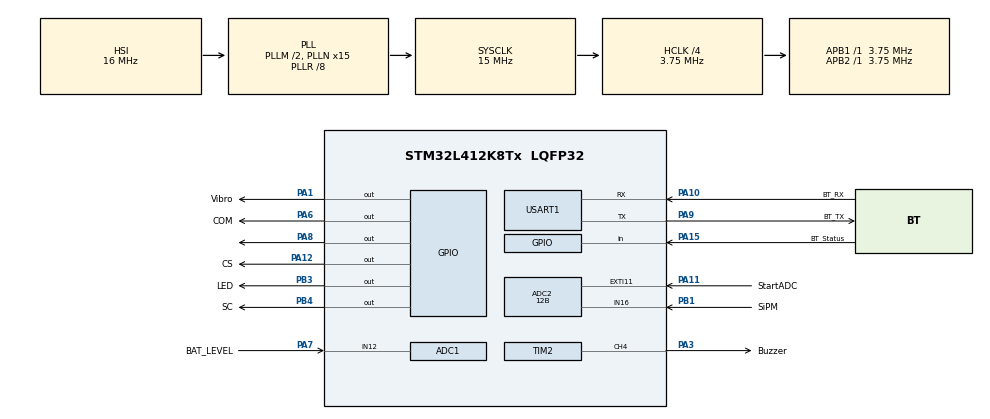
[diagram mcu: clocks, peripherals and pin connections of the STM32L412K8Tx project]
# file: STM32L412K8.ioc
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ADC1.Channel-2\#ChannelRegularConversion=ADC_CHANNEL_12
ADC1.Channel-3\#ChannelRegularConversion=ADC_CHANNEL_TEMPSENSOR
ADC1.LowPowerAutoWait=ENABLE
ADC1.NbrOfConversion=2
ADC1.NbrOfConversionFlag=1
ADC1.Offset-2\#ChannelRegularConversion=1
ADC1.OffsetNumber-2\#ChannelRegularConversion=ADC_OFFSET_NONE
ADC1.OffsetNumber-3\#ChannelRegularConversion=ADC_OFFSET_NONE
ADC1.OversamplingMode=DISABLE
ADC1.Rank-2\#ChannelRegularConversion=1
ADC1.Rank-3\#ChannelRegularConversion=2
ADC1.Resolution=ADC_RESOLUTION_10B
ADC1.SamplingTime-2\#ChannelRegularConversion=ADC_SAMPLETIME_24CYCLES_5
ADC1.SamplingTime-3\#ChannelRegularConversion=ADC_SAMPLETIME_24CYCLES_5
ADC1.master=1
ADC2.Channel-0\#ChannelRegularConversion=ADC_CHANNEL_16
ADC2.ClockPrescaler=ADC_CLOCK_ASYNC_DIV1
ADC2.LowPowerAutoWait=ENABLE
ADC2.NbrOfConversionFlag=1
ADC2.Offset-0\#ChannelRegularConversion=1
ADC2.OffsetNumber-0\#ChannelRegularConversion=ADC_OFFSET_1
ADC2.OversamplingMode=DISABLE
ADC2.Rank-0\#ChannelRegularConversion=1
ADC2.Resolution=ADC_RESOLUTION_12B
ADC2.SamplingTime-0\#ChannelRegularConversion=ADC_SAMPLETIME_12CYCLES_5
Dma.ADC1.1.Direction=DMA_PERIPH_TO_MEMORY
Dma.ADC1.1.Instance=DMA1_Channel1
Dma.ADC1.1.MemDataAlignment=DMA_MDATAALIGN_HALFWORD
Dma.ADC1.1.MemInc=DMA_MINC_ENABLE
Dma.ADC1.1.Mode=DMA_NORMAL
Dma.ADC1.1.PeriphDataAlignment=DMA_PDATAALIGN_HALFWORD
Dma.ADC1.1.PeriphInc=DMA_PINC_DISABLE
Dma.ADC1.1.Priority=DMA_PRIORITY_LOW
Dma.Request0=USART1_RX
Dma.Request1=ADC1
Dma.USART1_RX.0.Direction=DMA_PERIPH_TO_MEMORY
Dma.USART1_RX.0.Instance=DMA1_Channel5
Dma.USART1_RX.0.MemDataAlignment=DMA_MDATAALIGN_BYTE
Dma.USART1_RX.0.MemInc=DMA_MINC_ENABLE
Dma.USART1_RX.0.Mode=DMA_NORMAL
Dma.USART1_RX.0.PeriphDataAlignment=DMA_PDATAALIGN_BYTE
Dma.USART1_RX.0.PeriphInc=DMA_PINC_DISABLE
Dma.USART1_RX.0.Priority=DMA_PRIORITY_LOW
LPTIM2.ClockPrescaler=LPTIM_PRESCALER_DIV1
LPTIM2.UpdateMode=LPTIM_UPDATE_ENDOFPERIOD
Mcu.Family=STM32L4
Mcu.Name=STM32L412K8Tx
Mcu.Package=LQFP32
NVIC.ADC1_2_IRQn=true\:0\:0\:false\:false\:true\:true\:true\:true
NVIC.DMA1_Channel1_IRQn=true\:0\:0\:false\:false\:true\:false\:true\:true
NVIC.DMA1_Channel5_IRQn=true\:0\:0\:false\:false\:true\:false\:true\:true
NVIC.LPTIM2_IRQn=true\:0\:0\:false\:false\:true\:true\:true\:true
NVIC.PriorityGroup=NVIC_PRIORITYGROUP_4
NVIC.TIM1_BRK_TIM15_IRQn=true\:0\:0\:false\:false\:true\:true\:true\:true
NVIC.TIM1_UP_TIM16_IRQn=true\:0\:0\:false\:false\:true\:true\:true\:true
NVIC.TIM6_IRQn=true\:0\:0\:false\:false\:true\:true\:true\:true
PA1.GPIO_Label=Vibro
PA1.Signal=GPIO_Output
PA10.GPIO_Label=BT_RX
PA10.Mode=Asynchronous
PA10.Signal=USART1_RX
PA11.GPIO_Label=StartADC
PA11.Signal=GPXTI11
PA12.GPIO_Label=CS
PA12.Signal=GPIO_Output
PA15\ (JTDI).GPIO_Label=BT_Status
PA15\ (JTDI).Signal=GPIO_Input
PA3.GPIO_Label=Buzzer
PA3.Signal=S_TIM2_CH4
PA6.GPIO_Label=COM
PA6.GPIO_ModeDefaultOutputPP=GPIO_MODE_OUTPUT_OD
PA6.PinState=GPIO_PIN_RESET
PA6.Signal=GPIO_Output
PA7.GPIO_Label=BAT_LEVEL
PA7.Signal=ADCx_IN12
PA8.Signal=GPIO_Output
PA9.GPIO_Label=BT_TX
PA9.Mode=Asynchronous
PA9.Signal=USART1_TX
PB1.GPIO_Label=SiPM
PB1.Signal=ADCx_IN16
PB3\ (JTDO/TRACESWO).GPIO_Label=LED
PB3\ (JTDO/TRACESWO).Signal=GPIO_Output
PB4\ (NJTRST).GPIO_Label=SC
PB4\ (NJTRST).Signal=GPIO_Output
ProjectManager.HeapSize=0x200
ProjectManager.StackSize=0x400
ProjectManager.TargetToolchain=STM32CubeIDE
RCC.ADCFreq_Value=15000000
RCC.AHBCLKDivider=RCC_SYSCLK_DIV4
RCC.AHBFreq_Value=3750000
RCC.APB1Freq_Value=3750000
RCC.APB1TimFreq_Value=3750000
RCC.APB2Freq_Value=3750000
RCC.APB2TimFreq_Value=3750000
RCC.CortexFreq_Value=3750000
RCC.HCLKFreq_Value=3750000
RCC.HSE_VALUE=8000000
RCC.HSI48_VALUE=48000000
RCC.HSI_VALUE=16000000
RCC.LPTIM2CLockSelection=RCC_LPTIM2CLKSOURCE_LSI
RCC.LSE_VALUE=32768
RCC.MSIClockRange=RCC_MSIRANGE_7
RCC.MSI_VALUE=8000000
RCC.PLLM=2
RCC.PLLN=15
RCC.PLLR=RCC_PLLR_DIV8
RCC.PLLSourceVirtual=RCC_PLLSOURCE_HSI
RCC.SYSCLKFreq_VALUE=15000000
RCC.SYSCLKSource=RCC_SYSCLKSOURCE_PLLCLK
RCC.USART1CLockSelection=RCC_USART1CLKSOURCE_SYSCLK
RCC.USBFreq_Value=8000000
RCC.VCOOutputFreq_Value=120000000
SH.ADCx_IN12.0=ADC1_IN12,IN12-Single-Ended
SH.ADCx_IN16.0=ADC2_IN16,IN16-Single-Ended
SH.S_TIM2_CH4.0=TIM2_CH4,Output Compare4 CH4
TIM15.AutoReloadPreload=TIM_AUTORELOAD_PRELOAD_ENABLE
TIM15.ClockDivision=TIM_CLOCKDIVISION_DIV1
TIM15.Period=100
TIM15.Prescaler=0
TIM15.RepetitionCounter=0
TIM15.TIM_MasterOutputTrigger=TIM_TRGO_UPDATE
TIM16.AutoReloadPreload=TIM_AUTORELOAD_PRELOAD_ENABLE
TIM16.Period=30000
TIM16.Prescaler=8
TIM2.AutoReloadPreload=TIM_AUTORELOAD_PRELOAD_ENABLE
TIM2.Channel-Output\ Compare4\ CH4=TIM_CHANNEL_4
TIM2.ClockDivision=TIM_CLOCKDIVISION_DIV1
TIM2.CounterMode=TIM_COUNTERMODE_UP
TIM2.OC4Preload=ENABLE
TIM2.OCMode_4=TIM_OCMODE_TOGGLE
TIM2.OCPolarity_4=TIM_OCPOLARITY_LOW
TIM2.Period=56
TIM2.Prescaler=8
TIM2.TIM_MasterOutputTrigger=TIM_TRGO_UPDATE
TIM2.TIM_MasterSlaveMode=TIM_MASTERSLAVEMODE_DISABLE
TIM6.AutoReloadPreload=TIM_AUTORELOAD_PRELOAD_ENABLE
TIM6.Period=20000
TIM6.Prescaler=2
USART1.DMADisableonRxErrorParam=ADVFEATURE_DMA_DISABLEONRXERROR
USART1.Parity=PARITY_NONE
USART1.StopBits=STOPBITS_1
USART1.SwapParam=ADVFEATURE_SWAP_DISABLE
USART1.VirtualMode-Asynchronous=VM_ASYNC
VP_ADC1_TempSens_Input.Mode=IN-TempSens
VP_LPTIM2_VS_LPTIM_counterModeInternalClock.Mode=Counts__internal_clock_event_00
VP_TIM15_VS_ClockSourceINT.Mode=Internal
VP_TIM15_VS_OPM.Mode=OPM_bit
VP_TIM16_VS_ClockSourceINT.Mode=Enable_Timer
VP_TIM16_VS_OPM.Mode=OPM_bit
VP_TIM2_VS_ClockSourceINT.Mode=Internal
VP_TIM6_VS_ClockSourceINT.Mode=Enable_Timer
board=custom

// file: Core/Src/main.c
/* USER CODE BEGIN Header */
/**
  ******************************************************************************
  * @file           : main.c
  * @brief          : Main program body
  ******************************************************************************
  * @attention
  *
  * <h2><center>&copy; Copyright (c) 2021 STMicroelectronics.
  * All rights reserved.</center></h2>
  *
  * This software component is licensed by ST under BSD 3-Clause license,
  * the "License"; You may not use this file except in compliance with the
  * License. You may obtain a copy of the License at:
  *                        opensource.org/licenses/BSD-3-Clause
  *
  ******************************************************************************
  */
/* USER CODE END Header */
#include "main.h"

/* USER CODE BEGIN Includes */
#ifdef DISPLAY_ENABLE
#include "ssd1306.h"
#include "ssd1306_fonts.h"
#endif
#include <stdio.h>

/* USER CODE END Includes */

ADC_HandleTypeDef hadc1;
ADC_HandleTypeDef hadc2;
DMA_HandleTypeDef hdma_adc1;

LPTIM_HandleTypeDef hlptim2;

TIM_HandleTypeDef htim2;
TIM_HandleTypeDef htim6;
TIM_HandleTypeDef htim15;
TIM_HandleTypeDef htim16;

UART_HandleTypeDef huart1;
DMA_HandleTypeDef hdma_usart1_rx;

/* USER CODE BEGIN PV */
char counterPP[20];
_Bool initFlag = 1, sleepFlag = 1, initUART = 1, logDataFlag = 0;
uint32_t counterCCAlarm = 0, counterCC = 0, counterALL = 0, sleepDelay, alarmTime = 0, oldInterval = 0, avgRadInterval, Thr1 = 0, Thr2 = 0, Thr3 = 0, batteryInterval;
uint16_t adc2Result = 0, adc1Result[2];
uint16_t spectrData[4096 + reservDataSize][2] = {0};
uint16_t spectrCRC, cfgData, cfgLevel1, cfgLevel2, cfgLevel3, powerCoeff, alarmLevel, alarmCount;
uint8_t indexBuffer;
uint32_t radBuffer[radBufferSize] = {0}, oldTimeAll;
uint8_t	resolution = 0, logIndex = 0, logRecords = 0, specterHistory = 0;
uint16_t dacValue, oldAlarmLevel = 4;
HAL_StatusTypeDef	flash_ok;

logData logDat[logSize];
float temperatureKoeff1, temperatureKoeff2;
//float cfgKoefRh;
static union {
	uint32_t uint;
	float flt;
}cfgKoef;

void bebe(void) {
	HAL_TIM_OC_Start(&htim2, TIM_CHANNEL_3); // Start timer for turn off Buzzer
	HAL_TIM_OC_Start(&htim2, TIM_CHANNEL_4); // Start timer for turn off Buzzer
	HAL_Delay(200);
	HAL_TIM_OC_Stop(&htim2, TIM_CHANNEL_3);
	HAL_TIM_OC_Stop(&htim2, TIM_CHANNEL_4);
	HAL_Delay(200);
	HAL_TIM_OC_Start(&htim2, TIM_CHANNEL_3); // Start timer for turn off Buzzer
	HAL_TIM_OC_Start(&htim2, TIM_CHANNEL_4); // Start timer for turn off Buzzer
	HAL_Delay(200);
	HAL_TIM_OC_Stop(&htim2, TIM_CHANNEL_3);
	HAL_TIM_OC_Stop(&htim2, TIM_CHANNEL_4);
}

/*
 * read/write config data from/to flash
 *
 * cfgData:
            00  -- Level 1 sound 1
            01  -- Level 1 vibro 2
            02  -- Level 2 sound 4
            03  -- Level 2 vibro 8
            04  -- Level 3 sound 16
            05  -- Level 3 vibro 32
            06  -- LED 64
            07  -- Sound 128
            08  -- 1 - 1024, 2 - 2048, 3 - 4096
            09  --
            10
            11
            12
            13
            14
            15
            16
 */
void rwFlash(uint8_t rwFlag) {
	uint32_t pageAdr = 0x800F800; // Begin of 31 page, last page flash for STM32L412K8.
	uint16_t magicKey;
	uint64_t dataForSave;
	magicKey = *(__IO uint16_t*) pageAdr;
	if ((magicKey != 0x1234) || (rwFlag == 1)) { // rwFlag == 1 for wrtite data to flash
		magicKey = 0x1234;
		if (rwFlag == 0) { // For first initial
			cfgData = 0;
			cfgLevel1 = 0;
			cfgLevel2 = 0;
			cfgLevel3 = 0;
			powerCoeff = 256;
		}
		FLASH_EraseInitTypeDef EraseInitStruct;
		uint32_t PAGEError = 0;
		EraseInitStruct.TypeErase   = FLASH_TYPEERASE_PAGES;
		EraseInitStruct.Page = 31; // Page size for STM32L412K8 is 2KB
		EraseInitStruct.NbPages     = 1;

		flash_ok = HAL_ERROR;
		// Unlock flash
		while(flash_ok != HAL_OK) {
		  flash_ok = HAL_FLASH_Unlock();
		}
		if (HAL_FLASHEx_Erase(&EraseInitStruct, &PAGEError) == HAL_OK) {

			dataForSave = (uint64_t) (magicKey | (((uint32_t) powerCoeff << 16) & 0xFFFF0000 ) | (((uint64_t) cfgData << 32) & 0xFFFFFFFF00000000) | (((uint64_t) cfgLevel1 << 48) & 0xFFFF000000000000));
			flash_ok = HAL_ERROR;
			while(flash_ok != HAL_OK){
				flash_ok = HAL_FLASH_Program(FLASH_TYPEPROGRAM_DOUBLEWORD, pageAdr, dataForSave); // Write  magic key into Flash
			}

			dataForSave = (uint64_t) (cfgLevel2 | (cfgLevel3 << 16) | (uint64_t) cfgKoef.uint << 32);
			flash_ok = HAL_ERROR;
			while(flash_ok != HAL_OK) {
				flash_ok = HAL_FLASH_Program(FLASH_TYPEPROGRAM_DOUBLEWORD, pageAdr + 8, dataForSave); // Write Level2, Level3
			}
		}
		// Lock flash
		flash_ok = HAL_ERROR;
		while(flash_ok != HAL_OK) {
			flash_ok = HAL_FLASH_Lock();
		}
		bebe();
	} else {
		powerCoeff = *(__IO uint16_t*) (pageAdr + 2);
		cfgData = *(__IO uint16_t*) (pageAdr + 4);
		resolution = (uint8_t) (cfgData >> 8 & 0x3);
		cfgLevel1 = *(__IO uint16_t*) (pageAdr + 6);
		cfgLevel2 = *(__IO uint16_t*) (pageAdr + 8);
		cfgLevel3 = *(__IO uint16_t*) (pageAdr + 10);
		uint32_t koefAddr = pageAdr + 12;
		cfgKoef.uint = *(__IO uint32_t*) (koefAddr);
		if (cfgKoef.flt > 0) {
			float tmpVal = cfgKoef.flt * 1000;
			Thr1 = (uint32_t) (tmpVal / (float)cfgLevel1);
			Thr2 = (uint32_t) (tmpVal / (float)cfgLevel2);
			Thr3 = (uint32_t) (tmpVal / (float)cfgLevel3);
		}
	}
}

/* USER CODE END PV */

void SystemClock_Config(void);
static void MX_GPIO_Init(void);
static void MX_DMA_Init(void);
static void MX_ADC1_Init(void);
static void MX_USART1_UART_Init(void);
static void MX_TIM15_Init(void);
static void MX_ADC2_Init(void);
static void MX_TIM2_Init(void);
static void MX_TIM16_Init(void);
static void MX_TIM6_Init(void);
static void MX_LPTIM2_Init(void);

int main(void)
{

  /* MCU Configuration--------------------------------------------------------*/

  /* Reset of all peripherals, Initializes the Flash interface and the Systick. */
  HAL_Init();

  /* Configure the system clock */
  SystemClock_Config();

  /* Initialize all configured peripherals */
  MX_GPIO_Init();
  MX_DMA_Init();
  MX_ADC1_Init();
  MX_USART1_UART_Init();
  MX_TIM15_Init();
  MX_ADC2_Init();
  MX_TIM2_Init();
  MX_TIM16_Init();
  MX_TIM6_Init();
  MX_LPTIM2_Init();
  /* USER CODE BEGIN 2 */
  HAL_LPTIM_Counter_Stop_IT(&hlptim2);
  //HAL_PWREx_EnableLowPowerRunMode();
  /* USER CODE END 2 */

  /* Infinite loop */
  /* USER CODE BEGIN WHILE */
  int j = 0;
  uint8_t btCommand[sizeCommand];
  uint8_t prefix[3] = {'<', 'B', '>'};
  uint8_t lowSpectr, highSpectr;
  #ifdef DISPLAY_ENABLE
  ssd1306_Init();
  #endif
  //uint16_t tmpData;
  /*
   * Температура с учетом калибровки
   * (TS_CAL2_TEMP - TS_CAL1_TEMP) / (TS_CAL2 - TS_CAL1) * (TS_DATA - TS_CAL1) + 30
   *
   * */
  temperatureKoeff1 = (float) (TEMPSENSOR_CAL2_TEMP - TEMPSENSOR_CAL1_TEMP) / (float) (*TEMPSENSOR_CAL2_ADDR - *TEMPSENSOR_CAL1_ADDR);
  temperatureKoeff2 = 30 - temperatureKoeff1 * (float) ( *(__IO uint16_t*) TEMPSENSOR_CAL1_ADDR);
  temperatureKoeff1 = temperatureKoeff1 * 4 * ADC_REF_VOLTAGE / 3.0f;	// ADC 10 разрядов, default Vref = 3v.

  uint32_t initDelay, oldTime = HAL_GetTick();
  initDelay = oldTime;
  oldTimeAll = oldTime;
  sleepFlag = oldTime;
  batteryInterval = 0;
  counterCC = 0;

  rwFlash(0); // Read config from flash.

  if (powerCoeff == 0 || powerCoeff > 4095) {
	  powerCoeff = 60;
  }
  HAL_GPIO_WritePin(GPIOB, LED_PIN, GPIO_PIN_SET); // LED on.
  HAL_GPIO_WritePin(GPIOA, COM_PIN, GPIO_PIN_SET); // Com pin disable
  __HAL_TIM_CLEAR_FLAG(&htim15, TIM_SR_UIF); // Clear flags
  HAL_TIM_Base_Start_IT(&htim15); // Start timer for turn off LED
  //
  HAL_TIM_OC_Start(&htim2, TIM_CHANNEL_3);  // Sound on
  HAL_TIM_OC_Start(&htim2, TIM_CHANNEL_4);  // Sound on
  HAL_GPIO_WritePin(GPIOA, VIBRO_PIN, GPIO_PIN_SET); // Vibro on.
  __HAL_TIM_CLEAR_FLAG(&htim16, TIM_SR_UIF); // Clear flags
  HAL_TIM_Base_Start_IT(&htim16); // Start timer for turn off Buzzer

  alarmLevel = 0;
  alarmCount = 0;
  HAL_TIM_Base_Start_IT(&htim6); // Alarm timer.
  //HAL_UART_Init(&huart1);

  while (1)
  {
	#ifdef DISPLAY_ENABLE
	  sprintf(counterPP, "CPS:%lu CNT:%lu", counterCC / ((HAL_GetTick() - oldTime) / 1000), counterALL);
	  counterCC = 0;
	  oldTime = HAL_GetTick();
	  ssd1306_SetCursor(0, 0);
	  ssd1306_WriteString(counterPP, Font_6x8, 0x01);
	#endif
	  uint32_t max = 1;
	  for ( int i = reservDataSize; i < 2050; i++) {
		  if (spectrData[i][0] > max)
			  max = spectrData[i][0];
	  }
	#ifdef DISPLAY_ENABLE
	  sprintf(counterPP, "AVG:%lu MAX:%d", counterALL / ((HAL_GetTick() - oldTimeAll) / 1000), max);
	  ssd1306_SetCursor(0, 8);
	  ssd1306_WriteString(counterPP, Font_6x8, 0x01);

	  sprintf(counterPP, "TM:%lu",(HAL_GetTick() - oldTimeAll) / 1000);
	  ssd1306_SetCursor(0, 16);
	  ssd1306_WriteString(counterPP, Font_6x8, 0x01);
	#endif
	/*
	  //
	  // Histogram for LCD 64x128.
	  //
	  int k = 0;
	  for ( int i = 0; i < 119; i++) {
		  sptDat =(float) ((spectrData[k++] + spectrData[k++] + spectrData[k++]) * 64 / max);
		  //sptDat = (float) (log2f((float) spectrData[i]) * 64 / max);
		  ssd1306_Line(0, i + 9, 64, i + 9, 0x00);
		  ssd1306_Line(0, i + 9, sptDat, i + 9, 0x01);
	  }
	  */
	#ifdef DISPLAY_ENABLE
	  ssd1306_UpdateScreen();
	#endif
	  // Delay after on.
	  if (initFlag && (HAL_GetTick() - initDelay > INIT_TIME)) {
		  initFlag = 0;
		  HAL_ADC_Start_IT(&hadc2);  // Init ADC for sipm channel.
		  oldTimeAll = HAL_GetTick();
		  HAL_LPTIM_Counter_Start_IT(&hlptim2, 32000);
	  }
	#ifdef DISPLAY_ENABLE
	  ssd1306_SetCursor(0, 24);
	#endif
	  /* Status JDY-19, BT connected ? */
	  if ( HAL_GPIO_ReadPin(GPIOA, GPIO_PIN_15) == 1 ) { // BT State active ?
	#ifdef DISPLAY_ENABLE
		  ssd1306_WriteString("BT: connect   ", Font_6x8, 0x01);
	#endif
		  /* Init uart after sleep */
		  if (initUART) {
			  HAL_UART_Init(&huart1);
			  HAL_UART_Receive_DMA(&huart1, btCommand, sizeCommand);
			  initUART = 0;
		  }

		  /* Receive data from android */
		  if (hdma_usart1_rx.State == HAL_DMA_STATE_READY) {
			  HAL_UART_Receive_DMA(&huart1, btCommand, sizeCommand);
			  if (btCommand[0] == '<' && btCommand[2] == '>') {
				  uint16_t CS = 0;
				  for (int i = 0; i < 18; i++) {
					  CS = CS + btCommand[i];
				  }
				  if (((CS & 0xFF) == btCommand[18]) && (((CS >> 8) & 0xFF) == btCommand[19])) {
					  //HAL_TIM_OC_Start(&htim2, TIM_CHANNEL_4);
					  //HAL_TIM_Base_Start_IT(&htim16); // Start timer for turn off Buzzer
					  if (btCommand[1] == '1')  { // Clear statistics
						  for (int i = 0; i < 2050; i++) {
							  spectrData[i][specterHistory] = 0;
							  batteryInterval = 0;
							  if (specterHistory == 1) {
								  counterCCAlarm = 0;
								  alarmTime = 0;
							  }
						  }
						  oldTimeAll = HAL_GetTick();
						  counterALL = 0;
					  } else if (btCommand[1] == '2') { // Write config data
						  cfgData = ((btCommand[4] << 8) & 0xFF00) | btCommand[3];
						  resolution = (uint8_t) (cfgData >> 8 & 0x3);
						  cfgLevel1 = ((btCommand[6] << 8) & 0xFF00) | btCommand[5];
						  cfgLevel2 = ((btCommand[8] << 8) & 0xFF00) | btCommand[7];
						  cfgLevel3 = ((btCommand[10] << 8) & 0xFF00) | btCommand[9];
						  //cfgKoefRh = *(float *) &btCommand[11];
						  cfgKoef.uint = (uint32_t) (btCommand[11] | (uint32_t) btCommand[12] << 8 | (uint32_t) btCommand[13] << 16 | (uint32_t) btCommand[14] << 24);
						  powerCoeff = (uint16_t) (btCommand[15] | (uint16_t) btCommand[16] << 8);
						  if (cfgKoef.flt > 0) {
							  //float tmpVal = cfgKoefRh * 1000;
							  float tmpVal = cfgKoef.flt * 1000;
							  Thr1 = (uint32_t) (tmpVal / (float)cfgLevel1);
							  Thr2 = (uint32_t) (tmpVal / (float)cfgLevel2);
							  Thr3 = (uint32_t) (tmpVal / (float)cfgLevel3);
						  }
						  rwFlash(1); // Write to flash
					  } else if (btCommand[1] == '3') {  // Request log data.
						  logDataFlag = 1;
					  } else if (btCommand[1] == '4') {  // Toggle to alarm specter array
						  specterHistory = 1;
					  } else if (btCommand[1] == '5') {  // Toggle to normal specter array
						  specterHistory = 0;
					  }
				  }
			  }
		  }

		  /*
		   *  Transmit data over BT.
		   */
		  if (logDataFlag == 0) {  // Specter data
			  if (specterHistory == 0) {
				  prefix[1] = 'B';		// Normal specter
				  spectrData[0][specterHistory] = (uint16_t) ((HAL_GetTick() - oldTimeAll) / 1000); // Specter collection time.
				  spectrData[1][specterHistory] = (uint16_t) (((HAL_GetTick() - oldTimeAll) / 1000) >> 16);
				  spectrData[2][specterHistory] = (uint16_t) (counterALL & 0xFFFF);
				  spectrData[3][specterHistory] = (uint16_t) (counterALL >> 16);
			  } else {
				  prefix[1] = 'b';		// Alarm specter
				  spectrData[0][specterHistory] = (uint16_t) (alarmTime & 0xFFFF); // Specter collection time.
				  spectrData[1][specterHistory] = (uint16_t) (alarmTime >> 16);
				  spectrData[2][specterHistory] = (uint16_t) (counterCCAlarm & 0xFFFF);
				  spectrData[3][specterHistory] = (uint16_t) (counterCCAlarm >> 16);
			  }
			  HAL_UART_Transmit(&huart1, prefix, 3, 1000); // Start sequence.
			  //spectrData[2] = 0;
			  //spectrData[3] = 1;
			  spectrCRC = 0;
			  HAL_Delay(TRANSMIT_DALAY);  // Increase time delay if transmit error.
			  j = 0;
			  for ( int i = 0; i < 1042; i++) {
				  lowSpectr = spectrData[i][specterHistory] & 0xFF;
				  highSpectr = (spectrData[i][specterHistory] & 0xFF00) >> 8;
				  spectrCRC = spectrCRC + lowSpectr + highSpectr;
				  HAL_UART_Transmit(&huart1, &highSpectr, 1, 1000);
				  HAL_UART_Transmit(&huart1, &lowSpectr, 1, 1000);
				  if ( j++ >= 9) {
					  HAL_Delay(TRANSMIT_DALAY);  // Increase time delay if transmit error.
					  j = 0;
				  }
			  }
		  } else {  // Log data
			  uint32_t logTime = HAL_GetTick() / 1000;
			  uint8_t emptyBuff[5] = {0};
			  logDataFlag = 0;	// Reset log data flag
			  prefix[1] = 'L';
			  HAL_UART_Transmit(&huart1, prefix, 3, 1000); // Start sequence.
			  HAL_UART_Transmit(&huart1, &logRecords, 1, 1000); // Records count
			  spectrCRC = logRecords;
			  /* Send current time */
			  lowSpectr = logTime & 0xFF;
			  highSpectr = (logTime & 0xFF00) >> 8;
			  spectrCRC = spectrCRC + lowSpectr + highSpectr;
			  HAL_UART_Transmit(&huart1, &highSpectr, 1, 1000);
			  HAL_UART_Transmit(&huart1, &lowSpectr, 1, 1000);
			  lowSpectr = (logTime & 0xFF0000) >> 16;
			  highSpectr = (logTime & 0xFF000000) >> 24;
			  spectrCRC = spectrCRC + lowSpectr + highSpectr;
			  HAL_UART_Transmit(&huart1, &highSpectr, 1, 1000);
			  HAL_UART_Transmit(&huart1, &lowSpectr, 1, 1000);
			  HAL_UART_Transmit(&huart1, emptyBuff, 5, 1000);
			  HAL_Delay(TRANSMIT_DALAY);  // Increase time delay if transmit error.
			  j = 0;
			  for (int i = 0; i < logRecords; i++) {
				  lowSpectr = logDat[i].timeData & 0xFF;
				  highSpectr = (logDat[i].timeData & 0xFF00) >> 8;
				  spectrCRC = spectrCRC + lowSpectr + highSpectr;
				  HAL_UART_Transmit(&huart1, &highSpectr, 1, 1000);
				  HAL_UART_Transmit(&huart1, &lowSpectr, 1, 1000);
				  lowSpectr = (logDat[i].timeData & 0xFF0000) >> 16;
				  highSpectr = (logDat[i].timeData & 0xFF000000) >> 24;
				  spectrCRC = spectrCRC + lowSpectr + highSpectr;
				  HAL_UART_Transmit(&huart1, &highSpectr, 1, 1000);
				  HAL_UART_Transmit(&huart1, &lowSpectr, 1, 1000);
				  spectrCRC = spectrCRC + logDat[i].eventType;
				  HAL_UART_Transmit(&huart1, &logDat[i].eventType, 1, 1000);
				  lowSpectr = logDat[i].event_data & 0xFF;
				  highSpectr = (logDat[i].event_data & 0xFF00) >> 8;
				  spectrCRC = spectrCRC + lowSpectr + highSpectr;
				  HAL_UART_Transmit(&huart1, &highSpectr, 1, 1000);
				  HAL_UART_Transmit(&huart1, &lowSpectr, 1, 1000);
				  lowSpectr = (logDat[i].event_data & 0xFF0000) >> 16;
				  highSpectr = (logDat[i].event_data & 0xFF000000) >> 24;
				  spectrCRC = spectrCRC + lowSpectr + highSpectr;
				  HAL_UART_Transmit(&huart1, &highSpectr, 1, 1000);
				  HAL_UART_Transmit(&huart1, &lowSpectr, 1, 1000);
				  HAL_Delay(TRANSMIT_DALAY);  // Increase time delay if transmit error.
			  }
		  }
		  /* Transmit CRC */
		  HAL_Delay(TRANSMIT_DALAY);
		  lowSpectr = spectrCRC & 0xFF;
		  highSpectr = (spectrCRC & 0xFF00) >> 8;
		  HAL_UART_Transmit(&huart1, &highSpectr, 1, 1000);
		  HAL_UART_Transmit(&huart1, &lowSpectr, 1, 1000);
		  sleepDelay = HAL_GetTick();
		  sleepFlag = 1;
	  } else {
	#ifdef DISPLAY_ENABLE
		  HAL_Delay(500);
		  ssd1306_WriteString("BT: disconnect", Font_6x8, 0x01);
	#endif
		  // BT sleep control
		  if (sleepFlag && (HAL_GetTick() - sleepDelay > SLEEPDALAY)) {
			  sleepFlag = 0;
			  HAL_UART_Transmit(&huart1, (uint8_t*) "AT+SLEEP\n", 9, 1000);    //For JDY-10
			  HAL_Delay(200);
			  HAL_UART_Transmit(&huart1, (uint8_t*) "AT+SLEEP\r\n", 10, 1000); //For JDY-19
			  HAL_GPIO_WritePin(GPIOB, LED_PIN, GPIO_PIN_SET); // LED on.
			  HAL_TIM_Base_Start_IT(&htim15); // Start timer for turn off LED.
			  HAL_UART_DeInit(&huart1);
			  initUART = 1;
		  }
	  }
	  /*
	   * Measure battery voltage and temperature
	   */
	  if ((HAL_GetTick() - batteryInterval > batteryMeasureInterval) || batteryInterval == 0) {
		  HAL_GPIO_WritePin(GPIOA, COM_PIN, GPIO_PIN_RESET); // Enable common pin
		  HAL_ADC_Start_DMA(&hadc1, (uint32_t *) &adc1Result, 2);
		  batteryInterval = HAL_GetTick();

		  /*
		   * DAC LTC1662 control
		   * Less value, more voltage.
		   */
		  if (dacValue != powerCoeff) {
			  dacValue = powerCoeff;  // Constant for test
			  uint16_t transmitData = 0xA000 | dacValue;
			  HAL_GPIO_WritePin(GPIOA, CS_DAC, GPIO_PIN_SET);		// Disable CS pin
			  HAL_GPIO_WritePin(GPIOB, SCK_DAC, GPIO_PIN_SET);		// Pulse on SCK pin
			  HAL_GPIO_WritePin(GPIOB, SCK_DAC, GPIO_PIN_RESET);
			  HAL_GPIO_WritePin(GPIOA, CS_DAC, GPIO_PIN_RESET);		// Enable CS pin
			  for (int i = 0; i < 16; i++) {
				  if ((transmitData & (1 << (15 - i))) == 0) {
					  HAL_GPIO_WritePin(GPIOA, SDI_DAC, GPIO_PIN_RESET);
				  } else {
					  HAL_GPIO_WritePin(GPIOA, SDI_DAC, GPIO_PIN_SET);
				  }
				  HAL_GPIO_WritePin(GPIOB, SCK_DAC, GPIO_PIN_SET);		// Pulse on SCK pin
				  HAL_GPIO_WritePin(GPIOB, SCK_DAC, GPIO_PIN_RESET);
			  }
			  HAL_GPIO_WritePin(GPIOA, CS_DAC, GPIO_PIN_SET);		// Disable CS pin and execute command
		  }
	  }
	  HAL_Delay(500);
    /* USER CODE END WHILE */

  }
}

void SystemClock_Config(void)
{
  RCC_OscInitTypeDef RCC_OscInitStruct = {0};
  RCC_ClkInitTypeDef RCC_ClkInitStruct = {0};

  /** Configure the main internal regulator output voltage
  */
  if (HAL_PWREx_ControlVoltageScaling(PWR_REGULATOR_VOLTAGE_SCALE1) != HAL_OK)
  {
    Error_Handler();
  }

  /** Initializes the RCC Oscillators according to the specified parameters
  * in the RCC_OscInitTypeDef structure.
  */
  RCC_OscInitStruct.OscillatorType = RCC_OSCILLATORTYPE_HSI|RCC_OSCILLATORTYPE_LSI;
  RCC_OscInitStruct.HSIState = RCC_HSI_ON;
  RCC_OscInitStruct.HSICalibrationValue = RCC_HSICALIBRATION_DEFAULT;
  RCC_OscInitStruct.LSIState = RCC_LSI_ON;
  RCC_OscInitStruct.PLL.PLLState = RCC_PLL_ON;
  RCC_OscInitStruct.PLL.PLLSource = RCC_PLLSOURCE_HSI;
  RCC_OscInitStruct.PLL.PLLM = 2;
  RCC_OscInitStruct.PLL.PLLN = 15;
  RCC_OscInitStruct.PLL.PLLQ = RCC_PLLQ_DIV2;
  RCC_OscInitStruct.PLL.PLLR = RCC_PLLR_DIV8;
  if (HAL_RCC_OscConfig(&RCC_OscInitStruct) != HAL_OK)
  {
    Error_Handler();
  }

  /** Initializes the CPU, AHB and APB buses clocks
  */
  RCC_ClkInitStruct.ClockType = RCC_CLOCKTYPE_HCLK|RCC_CLOCKTYPE_SYSCLK
                              |RCC_CLOCKTYPE_PCLK1|RCC_CLOCKTYPE_PCLK2;
  RCC_ClkInitStruct.SYSCLKSource = RCC_SYSCLKSOURCE_PLLCLK;
  RCC_ClkInitStruct.AHBCLKDivider = RCC_SYSCLK_DIV4;
  RCC_ClkInitStruct.APB1CLKDivider = RCC_HCLK_DIV1;
  RCC_ClkInitStruct.APB2CLKDivider = RCC_HCLK_DIV1;

  if (HAL_RCC_ClockConfig(&RCC_ClkInitStruct, FLASH_LATENCY_0) != HAL_OK)
  {
    Error_Handler();
  }
}

static void MX_ADC1_Init(void)
{

  ADC_MultiModeTypeDef multimode = {0};
  ADC_ChannelConfTypeDef sConfig = {0};

  /** Common config
  */
  hadc1.Instance = ADC1;
  hadc1.Init.ClockPrescaler = ADC_CLOCK_ASYNC_DIV1;
  hadc1.Init.Resolution = ADC_RESOLUTION_10B;
  hadc1.Init.DataAlign = ADC_DATAALIGN_RIGHT;
  hadc1.Init.ScanConvMode = ADC_SCAN_ENABLE;
  hadc1.Init.EOCSelection = ADC_EOC_SINGLE_CONV;
  hadc1.Init.LowPowerAutoWait = ENABLE;
  hadc1.Init.ContinuousConvMode = DISABLE;
  hadc1.Init.NbrOfConversion = 2;
  hadc1.Init.DiscontinuousConvMode = DISABLE;
  hadc1.Init.ExternalTrigConv = ADC_SOFTWARE_START;
  hadc1.Init.ExternalTrigConvEdge = ADC_EXTERNALTRIGCONVEDGE_NONE;
  hadc1.Init.DMAContinuousRequests = DISABLE;
  hadc1.Init.Overrun = ADC_OVR_DATA_PRESERVED;
  hadc1.Init.OversamplingMode = DISABLE;
  if (HAL_ADC_Init(&hadc1) != HAL_OK)
  {
    Error_Handler();
  }

  /** Configure the ADC multi-mode
  */
  multimode.Mode = ADC_MODE_INDEPENDENT;
  if (HAL_ADCEx_MultiModeConfigChannel(&hadc1, &multimode) != HAL_OK)
  {
    Error_Handler();
  }

  /** Configure Regular Channel
  */
  sConfig.Channel = ADC_CHANNEL_12;
  sConfig.Rank = ADC_REGULAR_RANK_1;
  sConfig.SamplingTime = ADC_SAMPLETIME_24CYCLES_5;
  sConfig.SingleDiff = ADC_SINGLE_ENDED;
  sConfig.OffsetNumber = ADC_OFFSET_NONE;
  sConfig.Offset = 1;
  if (HAL_ADC_ConfigChannel(&hadc1, &sConfig) != HAL_OK)
  {
    Error_Handler();
  }

  /** Configure Regular Channel
  */
  sConfig.Channel = ADC_CHANNEL_TEMPSENSOR;
  sConfig.Rank = ADC_REGULAR_RANK_2;
  sConfig.Offset = 0;
  if (HAL_ADC_ConfigChannel(&hadc1, &sConfig) != HAL_OK)
  {
    Error_Handler();
  }
  /* USER CODE BEGIN ADC1_Init 2 */
  while (HAL_ADCEx_Calibration_Start(&hadc1, ADC_SINGLE_ENDED) != HAL_OK);

  /* USER CODE END ADC1_Init 2 */

}

static void MX_ADC2_Init(void)
{

  ADC_ChannelConfTypeDef sConfig = {0};

  /** Common config
  */
  hadc2.Instance = ADC2;
  hadc2.Init.ClockPrescaler = ADC_CLOCK_ASYNC_DIV1;
  hadc2.Init.Resolution = ADC_RESOLUTION_12B;
  hadc2.Init.DataAlign = ADC_DATAALIGN_RIGHT;
  hadc2.Init.ScanConvMode = ADC_SCAN_DISABLE;
  hadc2.Init.EOCSelection = ADC_EOC_SINGLE_CONV;
  hadc2.Init.LowPowerAutoWait = ENABLE;
  hadc2.Init.ContinuousConvMode = DISABLE;
  hadc2.Init.NbrOfConversion = 1;
  hadc2.Init.DiscontinuousConvMode = DISABLE;
  hadc2.Init.ExternalTrigConv = ADC_EXTERNALTRIG_EXT_IT11;
  hadc2.Init.ExternalTrigConvEdge = ADC_EXTERNALTRIGCONVEDGE_RISING;
  hadc2.Init.DMAContinuousRequests = DISABLE;
  hadc2.Init.Overrun = ADC_OVR_DATA_PRESERVED;
  hadc2.Init.OversamplingMode = DISABLE;
  if (HAL_ADC_Init(&hadc2) != HAL_OK)
  {
    Error_Handler();
  }

  /** Configure Regular Channel
  */
  sConfig.Channel = ADC_CHANNEL_16;
  sConfig.Rank = ADC_REGULAR_RANK_1;
  sConfig.SamplingTime = ADC_SAMPLETIME_12CYCLES_5;
  sConfig.SingleDiff = ADC_SINGLE_ENDED;
  sConfig.OffsetNumber = ADC_OFFSET_1;
  sConfig.Offset = 1;
  if (HAL_ADC_ConfigChannel(&hadc2, &sConfig) != HAL_OK)
  {
    Error_Handler();
  }
  /* USER CODE BEGIN ADC2_Init 2 */
  while(HAL_ADCEx_Calibration_Start(&hadc2, ADC_SINGLE_ENDED) != HAL_OK);
  //uint32_t cal_dat = HAL_ADCEx_Calibration_GetValue(&hadc2, ADC_SINGLE_ENDED);
  //uint32_t cal_dat = 0x7f;
  //cal_dat += 1;
  //HAL_ADCEx_Calibration_SetValue(&hadc2, ADC_SINGLE_ENDED, cal_dat);

  //while(HAL_ADCEx_Calibration_Start(&hadc2, ADC_DIFFERENTIAL_ENDED) != HAL_OK);
  /* USER CODE END ADC2_Init 2 */

}

static void MX_LPTIM2_Init(void)
{

  hlptim2.Instance = LPTIM2;
  hlptim2.Init.Clock.Source = LPTIM_CLOCKSOURCE_APBCLOCK_LPOSC;
  hlptim2.Init.Clock.Prescaler = LPTIM_PRESCALER_DIV1;
  hlptim2.Init.Trigger.Source = LPTIM_TRIGSOURCE_SOFTWARE;
  hlptim2.Init.OutputPolarity = LPTIM_OUTPUTPOLARITY_HIGH;
  hlptim2.Init.UpdateMode = LPTIM_UPDATE_ENDOFPERIOD;
  hlptim2.Init.CounterSource = LPTIM_COUNTERSOURCE_INTERNAL;
  hlptim2.Init.Input1Source = LPTIM_INPUT1SOURCE_GPIO;
  hlptim2.Init.Input2Source = LPTIM_INPUT2SOURCE_GPIO;
  hlptim2.Init.RepetitionCounter = 0;
  if (HAL_LPTIM_Init(&hlptim2) != HAL_OK)
  {
    Error_Handler();
  }

}

static void MX_TIM2_Init(void)
{

  TIM_ClockConfigTypeDef sClockSourceConfig = {0};
  TIM_MasterConfigTypeDef sMasterConfig = {0};
  TIM_OC_InitTypeDef sConfigOC = {0};

  htim2.Instance = TIM2;
  htim2.Init.Prescaler = 8;
  htim2.Init.CounterMode = TIM_COUNTERMODE_UP;
  htim2.Init.Period = 56;
  htim2.Init.ClockDivision = TIM_CLOCKDIVISION_DIV1;
  htim2.Init.AutoReloadPreload = TIM_AUTORELOAD_PRELOAD_ENABLE;
  if (HAL_TIM_Base_Init(&htim2) != HAL_OK)
  {
    Error_Handler();
  }
  sClockSourceConfig.ClockSource = TIM_CLOCKSOURCE_INTERNAL;
  if (HAL_TIM_ConfigClockSource(&htim2, &sClockSourceConfig) != HAL_OK)
  {
    Error_Handler();
  }
  if (HAL_TIM_OC_Init(&htim2) != HAL_OK)
  {
    Error_Handler();
  }
  sMasterConfig.MasterOutputTrigger = TIM_TRGO_UPDATE;
  sMasterConfig.MasterSlaveMode = TIM_MASTERSLAVEMODE_DISABLE;
  if (HAL_TIMEx_MasterConfigSynchronization(&htim2, &sMasterConfig) != HAL_OK)
  {
    Error_Handler();
  }
  sConfigOC.OCMode = TIM_OCMODE_TOGGLE;
  sConfigOC.Pulse = 0;
  sConfigOC.OCPolarity = TIM_OCPOLARITY_LOW;
  sConfigOC.OCFastMode = TIM_OCFAST_DISABLE;
  if (HAL_TIM_OC_ConfigChannel(&htim2, &sConfigOC, TIM_CHANNEL_4) != HAL_OK)
  {
    Error_Handler();
  }
  __HAL_TIM_ENABLE_OCxPRELOAD(&htim2, TIM_CHANNEL_4);
  HAL_TIM_MspPostInit(&htim2);

}

static void MX_TIM6_Init(void)
{

  TIM_MasterConfigTypeDef sMasterConfig = {0};

  htim6.Instance = TIM6;
  htim6.Init.Prescaler = 2;
  htim6.Init.CounterMode = TIM_COUNTERMODE_UP;
  htim6.Init.Period = 20000;
  htim6.Init.AutoReloadPreload = TIM_AUTORELOAD_PRELOAD_ENABLE;
  if (HAL_TIM_Base_Init(&htim6) != HAL_OK)
  {
    Error_Handler();
  }
  sMasterConfig.MasterOutputTrigger = TIM_TRGO_RESET;
  sMasterConfig.MasterSlaveMode = TIM_MASTERSLAVEMODE_DISABLE;
  if (HAL_TIMEx_MasterConfigSynchronization(&htim6, &sMasterConfig) != HAL_OK)
  {
    Error_Handler();
  }

}

static void MX_TIM15_Init(void)
{

  TIM_ClockConfigTypeDef sClockSourceConfig = {0};
  TIM_MasterConfigTypeDef sMasterConfig = {0};

  htim15.Instance = TIM15;
  htim15.Init.Prescaler = 0;
  htim15.Init.CounterMode = TIM_COUNTERMODE_UP;
  htim15.Init.Period = 100;
  htim15.Init.ClockDivision = TIM_CLOCKDIVISION_DIV1;
  htim15.Init.RepetitionCounter = 0;
  htim15.Init.AutoReloadPreload = TIM_AUTORELOAD_PRELOAD_ENABLE;
  if (HAL_TIM_Base_Init(&htim15) != HAL_OK)
  {
    Error_Handler();
  }
  sClockSourceConfig.ClockSource = TIM_CLOCKSOURCE_INTERNAL;
  if (HAL_TIM_ConfigClockSource(&htim15, &sClockSourceConfig) != HAL_OK)
  {
    Error_Handler();
  }
  if (HAL_TIM_OnePulse_Init(&htim15, TIM_OPMODE_SINGLE) != HAL_OK)
  {
    Error_Handler();
  }
  sMasterConfig.MasterOutputTrigger = TIM_TRGO_UPDATE;
  sMasterConfig.MasterSlaveMode = TIM_MASTERSLAVEMODE_DISABLE;
  if (HAL_TIMEx_MasterConfigSynchronization(&htim15, &sMasterConfig) != HAL_OK)
  {
    Error_Handler();
  }

}

static void MX_TIM16_Init(void)
{

  htim16.Instance = TIM16;
  htim16.Init.Prescaler = 8;
  htim16.Init.CounterMode = TIM_COUNTERMODE_UP;
  htim16.Init.Period = 30000;
  htim16.Init.ClockDivision = TIM_CLOCKDIVISION_DIV1;
  htim16.Init.RepetitionCounter = 0;
  htim16.Init.AutoReloadPreload = TIM_AUTORELOAD_PRELOAD_ENABLE;
  if (HAL_TIM_Base_Init(&htim16) != HAL_OK)
  {
    Error_Handler();
  }
  if (HAL_TIM_OnePulse_Init(&htim16, TIM_OPMODE_SINGLE) != HAL_OK)
  {
    Error_Handler();
  }

}

static void MX_USART1_UART_Init(void)
{

  huart1.Instance = USART1;
  huart1.Init.BaudRate = 115200;
  huart1.Init.WordLength = UART_WORDLENGTH_8B;
  huart1.Init.StopBits = UART_STOPBITS_1;
  huart1.Init.Parity = UART_PARITY_NONE;
  huart1.Init.Mode = UART_MODE_TX_RX;
  huart1.Init.HwFlowCtl = UART_HWCONTROL_NONE;
  huart1.Init.OverSampling = UART_OVERSAMPLING_16;
  huart1.Init.OneBitSampling = UART_ONE_BIT_SAMPLE_DISABLE;
  huart1.AdvancedInit.AdvFeatureInit = UART_ADVFEATURE_DMADISABLEONERROR_INIT;
  huart1.AdvancedInit.DMADisableonRxError = UART_ADVFEATURE_DMA_DISABLEONRXERROR;
  if (HAL_UART_Init(&huart1) != HAL_OK)
  {
    Error_Handler();
  }

}

static void MX_DMA_Init(void)
{

  /* DMA controller clock enable */
  __HAL_RCC_DMA1_CLK_ENABLE();

  /* DMA interrupt init */
  /* DMA1_Channel1_IRQn interrupt configuration */
  HAL_NVIC_SetPriority(DMA1_Channel1_IRQn, 0, 0);
  HAL_NVIC_EnableIRQ(DMA1_Channel1_IRQn);
  /* DMA1_Channel5_IRQn interrupt configuration */
  HAL_NVIC_SetPriority(DMA1_Channel5_IRQn, 0, 0);
  HAL_NVIC_EnableIRQ(DMA1_Channel5_IRQn);

}

static void MX_GPIO_Init(void)
{
  GPIO_InitTypeDef GPIO_InitStruct = {0};

  /* GPIO Ports Clock Enable */
  __HAL_RCC_GPIOA_CLK_ENABLE();
  __HAL_RCC_GPIOB_CLK_ENABLE();

  /*Configure GPIO pin Output Level */
  HAL_GPIO_WritePin(GPIOA, Vibro_Pin|COM_Pin|GPIO_PIN_8|CS_Pin, GPIO_PIN_RESET);

  /*Configure GPIO pin Output Level */
  HAL_GPIO_WritePin(GPIOB, LED_Pin|SC_Pin, GPIO_PIN_RESET);

  /*Configure GPIO pins : Vibro_Pin PA8 CS_Pin */
  GPIO_InitStruct.Pin = Vibro_Pin|GPIO_PIN_8|CS_Pin;
  GPIO_InitStruct.Mode = GPIO_MODE_OUTPUT_PP;
  GPIO_InitStruct.Pull = GPIO_NOPULL;
  GPIO_InitStruct.Speed = GPIO_SPEED_FREQ_LOW;
  HAL_GPIO_Init(GPIOA, &GPIO_InitStruct);

  /*Configure GPIO pin : COM_Pin */
  GPIO_InitStruct.Pin = COM_Pin;
  GPIO_InitStruct.Mode = GPIO_MODE_OUTPUT_OD;
  GPIO_InitStruct.Pull = GPIO_NOPULL;
  GPIO_InitStruct.Speed = GPIO_SPEED_FREQ_LOW;
  HAL_GPIO_Init(COM_GPIO_Port, &GPIO_InitStruct);

  /*Configure GPIO pin : StartADC_Pin */
  GPIO_InitStruct.Pin = StartADC_Pin;
  GPIO_InitStruct.Mode = GPIO_MODE_IT_RISING;
  GPIO_InitStruct.Pull = GPIO_NOPULL;
  HAL_GPIO_Init(StartADC_GPIO_Port, &GPIO_InitStruct);

  /*Configure GPIO pin : BT_Status_Pin */
  GPIO_InitStruct.Pin = BT_Status_Pin;
  GPIO_InitStruct.Mode = GPIO_MODE_INPUT;
  GPIO_InitStruct.Pull = GPIO_NOPULL;
  HAL_GPIO_Init(BT_Status_GPIO_Port, &GPIO_InitStruct);

  /*Configure GPIO pins : LED_Pin SC_Pin */
  GPIO_InitStruct.Pin = LED_Pin|SC_Pin;
  GPIO_InitStruct.Mode = GPIO_MODE_OUTPUT_PP;
  GPIO_InitStruct.Pull = GPIO_NOPULL;
  GPIO_InitStruct.Speed = GPIO_SPEED_FREQ_LOW;
  HAL_GPIO_Init(GPIOB, &GPIO_InitStruct);

}

void Error_Handler(void)
{
}
